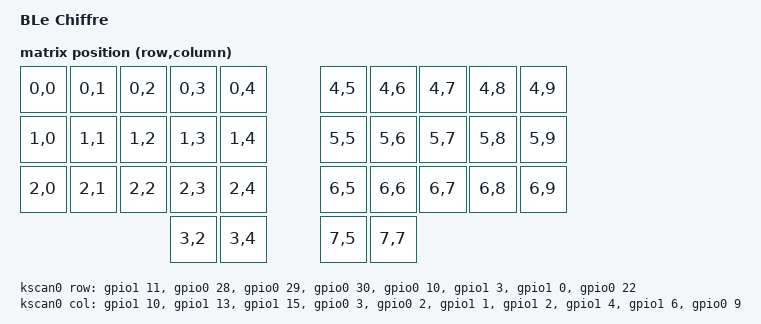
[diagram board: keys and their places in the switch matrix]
/*
 * Copyright (c) 2020 Pete Johanson, TJ Campie
 *
 * SPDX-License-Identifier: MIT
 */

/dts-v1/;
#include <nordic/nrf52840_qiaa.dtsi>
#include <dt-bindings/zmk/matrix_transform.h>

/ {
	model = "BLe Chiffre";
	compatible = "ble,chiffre";

	chosen {
		zephyr,code-partition = &code_partition;
		zephyr,sram = &sram0;
		zephyr,flash = &flash0;
		zmk,kscan = &kscan0;
		zmk,matrix_transform = &default_transform;
	};

	ext-power {
		compatible = "zmk,ext-power-generic";
		label = "EXT_POWER";
		control-gpios = <&gpio0 7 GPIO_ACTIVE_LOW>;
	};

	vbatt {
		compatible = "zmk,battery-voltage-divider";
		label = "BATTERY";
		io-channels = <&adc 2>;
		output-ohms = <1900000>;
		full-ohms = <(1900000 + 806000)>;
	};

    default_transform: keymap_transform_0 {
        compatible = "zmk,matrix-transform";
        columns = <10>;
        rows = <8>;
        map = <
    RC(0,0) RC(0,1) RC(0,2) RC(0,3) RC(0,4) RC(4,5) RC(4,6) RC(4,7) RC(4,8) RC(4,9)
    RC(1,0) RC(1,1) RC(1,2) RC(1,3) RC(1,4) RC(5,5) RC(5,6) RC(5,7) RC(5,8) RC(5,9)
    RC(2,0) RC(2,1) RC(2,2) RC(2,3) RC(2,4) RC(6,5) RC(6,6) RC(6,7) RC(6,8) RC(6,9)
    RC(3,2) RC(3,4) RC(7,5) RC(7,7)
        >;
    };

    kscan0: kscan_0 {
        compatible = "zmk,kscan-gpio-matrix";
        label = "KSCAN";
        diode-direction = "col2row";

        col-gpios
            = <&gpio1 10 GPIO_ACTIVE_HIGH>
            , <&gpio1 13 GPIO_ACTIVE_HIGH>
            , <&gpio1 15 GPIO_ACTIVE_HIGH>
            , <&gpio0 3 GPIO_ACTIVE_HIGH>
            , <&gpio0 2 GPIO_ACTIVE_HIGH>
            , <&gpio1 1 GPIO_ACTIVE_HIGH>
            , <&gpio1 2 GPIO_ACTIVE_HIGH>
            , <&gpio1 4 GPIO_ACTIVE_HIGH>
            , <&gpio1 6 GPIO_ACTIVE_HIGH>
            , <&gpio0 9 GPIO_ACTIVE_HIGH>
            ;

        row-gpios
            = <&gpio1 11 (GPIO_ACTIVE_HIGH | GPIO_PULL_DOWN)>
            , <&gpio0 28 (GPIO_ACTIVE_HIGH | GPIO_PULL_DOWN)>
            , <&gpio0 29 (GPIO_ACTIVE_HIGH | GPIO_PULL_DOWN)>
            , <&gpio0 30 (GPIO_ACTIVE_HIGH | GPIO_PULL_DOWN)>
            , <&gpio0 10 (GPIO_ACTIVE_HIGH | GPIO_PULL_DOWN)>
            , <&gpio1 3 (GPIO_ACTIVE_HIGH | GPIO_PULL_DOWN)>
            , <&gpio1 0 (GPIO_ACTIVE_HIGH | GPIO_PULL_DOWN)>
            , <&gpio0 22 (GPIO_ACTIVE_HIGH | GPIO_PULL_DOWN)>
            ;
    };
    
};

&adc {
	status = "okay";
};

&gpiote {
	status = "okay";
};

&gpio0 {
	status = "okay";
};

&gpio1 {
	status = "okay";
};

// &i2c0 {
// 	status = "okay";
// 	compatible = "nordic,nrf-twi";
// 	sda-pin = <21>;
// 	scl-pin = <19>;

// 	oled: ssd1306@3c {
// 		compatible = "solomon,ssd1306fb";
// 		reg = <0x3c>;
// 		label = "DISPLAY";
// 		width = <128>;
// 		height = <32>;
// 		segment-offset = <0>;
// 		page-offset = <0>;
// 		display-offset = <0>;
// 		multiplex-ratio = <31>;
// 		segment-remap;
// 		com-invdir;
// 		com-sequential;
// 		prechargep = <0x22>;
// 	};

// };
 
&usbd {
	status = "okay";
};

&flash0 {
	/*
	 * For more information, see:
	 * http://docs.zephyrproject.org/latest/devices/dts/flash_partitions.html
	 */
	partitions {
		compatible = "fixed-partitions";
		#address-cells = <1>;
 		#size-cells = <1>;

 		sd_partition: partition@0 {
 			label = "softdevice";
 			reg = <0x00000000 0x00026000>;
 		};
 		code_partition: partition@26000 {
 			label = "code_partition";
 			reg = <0x00026000 0x000c6000>;
 		};

 		/*
 		 * The flash starting at 0x000ec000 and ending at
 		 * 0x000f3fff is reserved for use by the application.
 		 */

 		/*
 		 * Storage partition will be used by FCB/LittleFS/NVS
 		 * if enabled.
 		 */
 		storage_partition: partition@ec000 {
 			label = "storage";
 			reg = <0x000ec000 0x00008000>;
 		};

		boot_partition: partition@f4000 {
			label = "adafruit_boot";
			reg = <0x000f4000 0x0000c000>;
		};
	};
};
